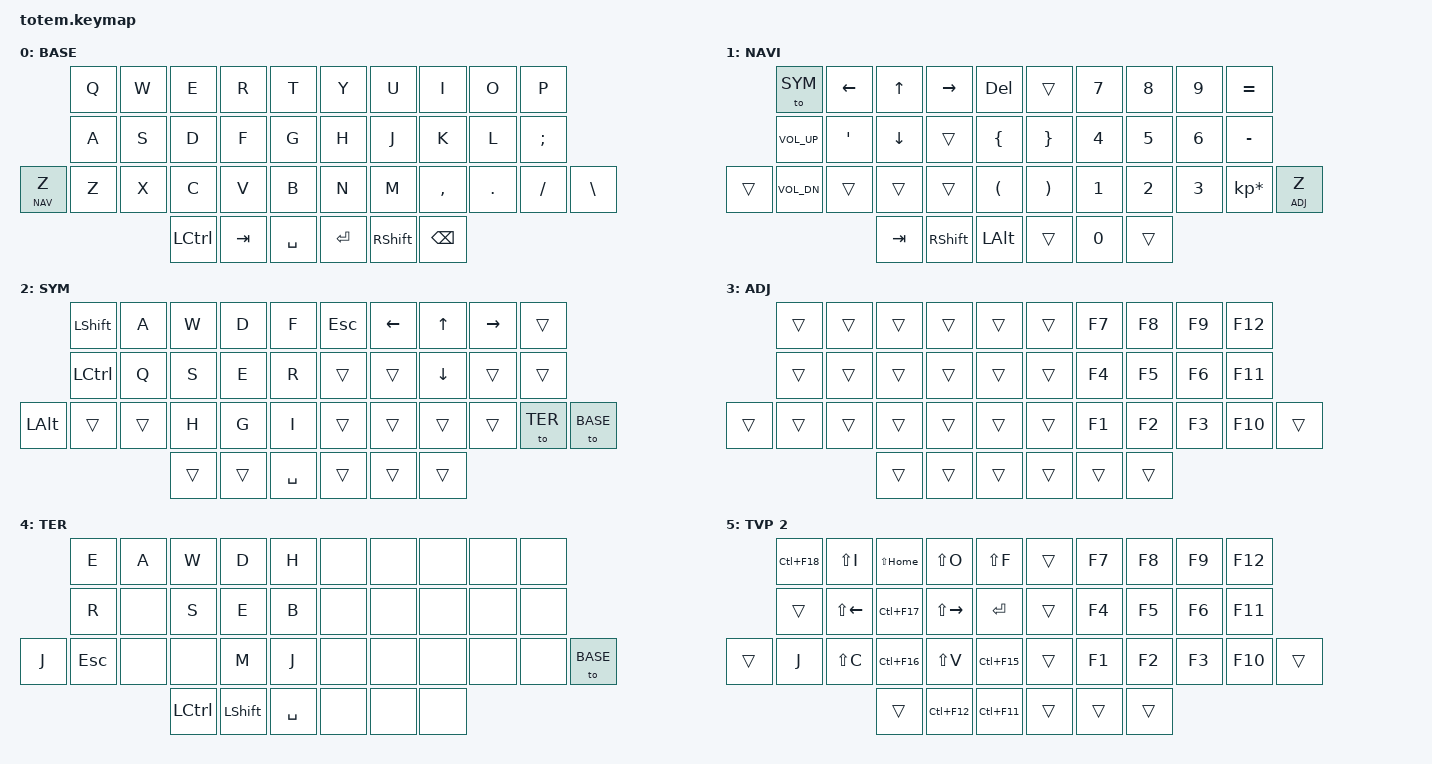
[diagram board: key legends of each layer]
//
//                                                        ▀▀▀▀▀     ▀▀▀▀▀          ▀▀█▀▀
//                                                        ▄▀▀▀▄  ▄  ▄▀▀▀▄  ▄  ▄▀▀▀▄  █  ▄▀▀▀▄
//                                                        █   █  █  █   █  █  █   █  █  █   █
//                                                         ▀▀▀   █   ▀▀▀   █   ▀▀▀   ▀   ▀▀▀
//                                                               █      ▄▄▄█▄▄▄    █   █  
//                                                               ▀      █  █  █     █▄█
//                                                             ▀▀▀▀▀    █  █  █      ▀
//                                                                      ▀  ▀  ▀
//
// ▄▄▄▄▄▄▄▄▄▄▄▄▄▄▄▄▄▄▄▄▄▄▄▄▄▄▄▄▄▄▄▄▄▄▄▄▄▄▄▄▄▄▄▄▄▄▄▄▄▄▄▄▄▄▄▄▄▄▄▄▄▄▄▄▄▄▄▄▄▄▄▄▄▄▄▄▄▄▄▄▄▄▄▄▄▄▄▄▄▄▄▄▄▄▄▄▄▄▄▄▄▄▄▄▄▄▄▄▄▄▄▄▄▄▄▄▄▄▄▄▄▄▄▄▄▄▄▄▄▄▄▄▄▄▄▄▄▄▄▄▄▄▄▄▄▄▄▄▄
       

#include <behaviors.dtsi>
#include <dt-bindings/zmk/keys.h>
#include <dt-bindings/zmk/bt.h>
#include <dt-bindings/zmk/outputs.h>

#define BASE 0
#define NAV  1
#define SYM  2
#define ADJ  3
#define TER  4
#define TVP2 5

&mt {
  quick-tap-ms = <100>;
  global-quick-tap;
  flavor = "tap-preferred";
  tapping-term-ms = <170>;
};
&lt {
    tapping-term-ms = <10>; // This is the value already set by default
};

/ {
     combos {
            compatible = "zmk,combos";
            combo_esc {
                timeout-ms = <50>;
                key-positions = <0 1>;
                bindings = <&kp ESC>;
            };
        };

    macros {
        gif: gif {
            label = "giphy";
            compatible = "zmk,behavior-macro";
            #binding-cells = <0>;
            bindings
                = <&macro_press &kp LSHFT>
                , <&macro_tap &kp N2>
                , <&macro_release &kp LSHFT>
                , <&macro_tap &kp G &kp I &kp F>
                ;
        };
    };

        keymap {
                compatible = "zmk,keymap";
// ▄▄▄▄▄▄▄▄▄▄▄▄▄▄▄▄▄▄▄▄▄▄▄▄▄▄▄▄▄▄▄▄▄▄▄▄▄▄▄▄▄▄▄▄▄▄▄▄▄▄▄▄▄▄▄▄▄▄▄▄▄▄▄▄▄▄▄▄▄▄▄▄▄▄▄▄▄▄▄▄▄▄▄▄▄▄▄▄▄▄▄▄▄▄▄▄▄▄▄▄▄▄▄▄▄▄▄▄▄▄▄▄▄▄▄▄▄▄▄▄▄▄▄▄▄▄▄▄▄▄▄▄▄▄▄▄▄▄▄▄▄▄▄▄▄▄▄▄▄

                base_layer {
// ┏━━━━━━━━━━━━━━━━━━━━━━━━━━━━━━━━━━━━━━━┓
label= "BASE"                              ;
// ┗━━━━━━━━━━━━━━━━━━━━━━━━━━━━━━━━━━━━━━━┛
//              ┏━━━━━━━━━━━┳━━━━━━━━━━━┳━━━━━━━━━━━┳━━━━━━━━━━━┳━━━━━━━━━━━┓  ┏━━━━━━━━━━━┳━━━━━━━━━━━┳━━━━━━━━━━━┳━━━━━━━━━━━┳━━━━━━━━━━━┓
//              ┃      Q      ┃      W     ┃     E      ┃      R     ┃      T      ┃  ┃     Y     ┃     U     ┃     I     ┃     O     ┃     P     ┃
//              ┣━━━━━━━━━━━╋━━━━━━━━━━━╋━━━━━━━━━━━╋━━━━━━━━━━━╋━━━━━━━━━━━┫  ┣━━━━━━━━━━━╋━━━━━━━━━━━╋━━━━━━━━━━━╋━━━━━━━━━━━╋━━━━━━━━━━━┫
//              ┃      A      ┃      S     ┃     D      ┃     F      ┃      G      ┃  ┃     H     ┃     j     ┃     K     ┃     L     ┃     ;     ┃
// ┏━━━━━━━━━━━╋━━━━━━━━━━━╋━━━━━━━━━━━╋━━━━━━━━━━━╋━━━━━━━━━━━╋━━━━━━━━━━━┫  ┣━━━━━━━━━━━╋━━━━━━━━━━━╋━━━━━━━━━━━╋━━━━━━━━━━━╋━━━━━━━━━━━╋━━━━━━━━━━━┓
// ┃      L      ┃     Z     ┃      X      ┃      C      ┃      V      ┃     B     ┃  ┃     N     ┃     M     ┃     ,     ┃     .     ┃     /     ┃     \     ┃
// ┗━━━━━━━━━━━┻━━━━━━━━━━━┻━━━━━━━━━━━╋━━━━━━━━━━━╋━━━━━━━━━━━╋━━━━━━━━━━━┫  ┣━━━━━━━━━━━╋━━━━━━━━━━━╋━━━━━━━━━━━╋━━━━━━━━━━━┻━━━━━━━━━━━┻━━━━━━━━━━━┛
//                                     ┃    LCTRL    ┃    TAB    ┃     SPC     ┃      ┃    ENTER    ┃   RSHIFT   ┃    BSPC    ┃
//                                     ┗━━━━━━━━━━━┻━━━━━━━━━━━┻━━━━━━━━━━━┛      ┗━━━━━━━━━━━┻━━━━━━━━━━━┻━━━━━━━━━━━┛
 bindings = <
// ╷           ╷           ╷           ╷           ╷           ╷           ╷   ╷           ╷           ╷           ╷           ╷           ╷           ╷

                &kp Q       &kp W       &kp E       &kp R       &kp T           &kp Y       &kp U       &kp I       &kp O       &kp P
                &kp A	    &kp S	&kp D	    &kp F	&kp G           &kp H       &kp J	&kp K	    &kp L	&kp SEMI
    &lt NAV Z   &kp Z       &kp X       &kp C       &kp V       &kp B           &kp N       &kp M       &kp COMMA   &kp DOT     &kp FSLH    &kp BSLH
                                        &kp LCTRL   &kp TAB     &kp SPACE   	&kp RET	    &kp RSHIFT  &kp BSPC
                        >;
                };

//
// ▄▄▄▄▄▄▄▄▄▄▄▄▄▄▄▄▄▄▄▄▄▄▄▄▄▄▄▄▄▄▄▄▄▄▄▄▄▄▄▄▄▄▄▄▄▄▄▄▄▄▄▄▄▄▄▄▄▄▄▄▄▄▄▄▄▄▄▄▄▄▄▄▄▄▄▄▄▄▄▄▄▄▄▄▄▄▄▄▄▄▄▄▄▄▄▄▄▄▄▄▄▄▄▄▄▄▄▄▄▄▄▄▄▄▄▄▄▄▄▄▄▄▄▄▄▄▄▄▄▄▄▄▄▄▄▄▄▄▄▄▄▄▄▄▄▄▄▄▄


                nav_layer {
// ┏━━━━━━━━━━━━━━━━━━━━━━━━━━━━━━━━━━━━━━━┓
label= "NAVI"                              ;
// ┗━━━━━━━━━━━━━━━━━━━━━━━━━━━━━━━━━━━━━━━┛
//             ┏━━━━━━━━━━━┳━━━━━━━━━━━┳━━━━━━━━━━━┳━━━━━━━━━━━┳━━━━━━━━━━━┓   ┏━━━━━━━━━━━┳━━━━━━━━━━━┳━━━━━━━━━━━┳━━━━━━━━━━━┳━━━━━━━━━━━┓
//             ┃           ┃    LEFT   ┃     UP    ┃   RIGHT   ┃     {     ┃          ┃     }      ┃      7      ┃     8      ┃     9      ┃      =     ┃
//             ┣━━━━━━━━━━━╋━━━━━━━━━━━╋━━━━━━━━━━━╋━━━━━━━━━━━╋━━━━━━━━━━━┫   ┣━━━━━━━━━━━╋━━━━━━━━━━━╋━━━━━━━━━━━╋━━━━━━━━━━━╋━━━━━━━━━━━┫
//             ┃           ┃           ┃    DOWN   ┃           ┃     [     ┃           ┃     ]     ┃     4     ┃     5     ┃     6     ┃     -     ┃
// ┏━━━━━━━━━━━╋━━━━━━━━━━━╋━━━━━━━━━━━╋━━━━━━━━━━━╋━━━━━━━━━━━╋━━━━━━━━━━━┫   ┣━━━━━━━━━━━╋━━━━━━━━━━━╋━━━━━━━━━━━╋━━━━━━━━━━━╋━━━━━━━━━━━╋━━━━━━━━━━━┓
// ┃           ┃           ┃           ┃           ┃           ┃     (        ┃        ┃     )     ┃     1     ┃     2     ┃     3     ┃     *     ┃           ┃
// ┗━━━━━━━━━━━┻━━━━━━━━━━━┻━━━━━━━━━━━╋━━━━━━━━━━━╋━━━━━━━━━━━╋━━━━━━━━━━━┫   ┣━━━━━━━━━━━╋━━━━━━━━━━━╋━━━━━━━━━━━╋━━━━━━━━━━━┻━━━━━━━━━━━┻━━━━━━━━━━━┛
//                                     ┃           ┃   RSHIFT   ┃           ┃          ┃           ┃     0     ┃           ┃
//                                     ┗━━━━━━━━━━━┻━━━━━━━━━━━┻━━━━━━━━━━━┛      ┗━━━━━━━━━━━┻━━━━━━━━━━━┻━━━━━━━━━━━┛
 bindings = <
// ╷           ╷           ╷           ╷           ╷           ╷           ╷   ╷           ╷           ╷           ╷           ╷           ╷           ╷

                &to SYM      &kp LEFT    &kp UP      &kp RIGHT   &kp DEL       &trans      &kp N7      &kp N8      &kp N9      &kp EQUAL
                &kp C_VOL_UP &kp SQT     &kp DOWN    &trans      &kp LBRC      &kp RBRC    &kp N4      &kp N5      &kp N6      &kp MINUS
    &trans      &kp C_VOL_DN &trans      &trans      &trans      &kp LPAR      &kp RPAR    &kp N1      &kp N2      &kp N3      &kp KP_MULTIPLY &lt ADJ Z       
                                        &kp TAB     &kp RSHIFT  &kp LALT        &trans      &kp N0      &trans      
                        >;
                };

// ▄▄▄▄▄▄▄▄▄▄▄▄▄▄▄▄▄▄▄▄▄▄▄▄▄▄▄▄▄▄▄▄▄▄▄▄▄▄▄▄▄▄▄▄▄▄▄▄▄▄▄▄▄▄▄▄▄▄▄▄▄▄▄▄▄▄▄▄▄▄▄▄▄▄▄▄▄▄▄▄▄▄▄▄▄▄▄▄▄▄▄▄▄▄▄▄▄▄▄▄▄▄▄▄▄▄▄▄▄▄▄▄▄▄▄▄▄▄▄▄▄▄▄▄▄▄▄▄▄▄▄▄▄▄▄▄▄▄▄▄▄▄▄▄▄▄▄▄▄


                sim_layer {
// ┏━━━━━━━━━━━━━━━━━━━━━━━━━━━━━━━━━━━━━━━┓
label= "SYM"                               ;
// ┗━━━━━━━━━━━━━━━━━━━━━━━━━━━━━━━━━━━━━━━┛
//              ┏━━━━━━━━━━━┳━━━━━━━━━━━┳━━━━━━━━━━━┳━━━━━━━━━━━┳━━━━━━━━━━━┓  ┏━━━━━━━━━━━┳━━━━━━━━━━━┳━━━━━━━━━━━┳━━━━━━━━━━━┳━━━━━━━━━━━┓
//              ┃     SHIFT     ┃     A     ┃     W     ┃     D     ┃     F        ┃  ┃    ESC     ┃     left    ┃     up     ┃     right   ┃            ┃
//              ┣━━━━━━━━━━━╋━━━━━━━━━━━╋━━━━━━━━━━━╋━━━━━━━━━━━╋━━━━━━━━━━━┫  ┣━━━━━━━━━━━╋━━━━━━━━━━━╋━━━━━━━━━━━╋━━━━━━━━━━━╋━━━━━━━━━━━┫
//              ┃    CTRL    ┃      Q      ┃    S       ┃     E       ┃      R     ┃  ┃            ┃             ┃    down    ┃             ┃           ┃
// ┏━━━━━━━━━━━╋━━━━━━━━━━━╋━━━━━━━━━━━╋━━━━━━━━━━━╋━━━━━━━━━━━╋━━━━━━━━━━━┫  ┣━━━━━━━━━━━╋━━━━━━━━━━━╋━━━━━━━━━━━╋━━━━━━━━━━━╋━━━━━━━━━━━╋━━━━━━━━━━━┓
// ┃     ALT    ┃             ┃            ┃    H       ┃             ┃      I     ┃  ┃             ┃            ┃            ┃             ┃            ┃            ┃
// ┗━━━━━━━━━━━┻━━━━━━━━━━━┻━━━━━━━━━━━╋━━━━━━━━━━━╋━━━━━━━━━━━╋━━━━━━━━━━━┫  ┣━━━━━━━━━━━╋━━━━━━━━━━━╋━━━━━━━━━━━╋━━━━━━━━━━━┻━━━━━━━━━━━┻━━━━━━━━━━━┛
//                                         ┃            ┃    GIF      ┃    ADJ     ┃   ┃            ┃            ┃             ┃
//                                         ┗━━━━━━━━━━━┻━━━━━━━━━━━┻━━━━━━━━━━━┛   ┗━━━━━━━━━━━┻━━━━━━━━━━━┻━━━━━━━━━━━┛
 bindings = <
// ╷           ╷           ╷           ╷           ╷           ╷           ╷   ╷           ╷           ╷           ╷           ╷           ╷           ╷

                &kp LSHIFT  &kp A       &kp W       &kp D       &kp F           &kp ESC     &kp LEFT    &kp UP      &kp RIGHT   &trans             
                &kp LCTRL   &kp Q       &kp S       &kp E       &kp R           &trans      &trans      &kp DOWN    &trans      &trans       
    &kp LALT    &trans      &trans      &kp H       &kp G       &kp I           &trans      &trans      &trans      &trans      &to TER      &to BASE         
                                       &trans      &trans      &kp SPACE         &trans      &trans      &trans      
                        >;
                };

// ▄▄▄▄▄▄▄▄▄▄▄▄▄▄▄▄▄▄▄▄▄▄▄▄▄▄▄▄▄▄▄▄▄▄▄▄▄▄▄▄▄▄▄▄▄▄▄▄▄▄▄▄▄▄▄▄▄▄▄▄▄▄▄▄▄▄▄▄▄▄▄▄▄▄▄▄▄▄▄▄▄▄▄▄▄▄▄▄▄▄▄▄▄▄▄▄▄▄▄▄▄▄▄▄▄▄▄▄▄▄▄▄▄▄▄▄▄▄▄▄▄▄▄▄▄▄▄▄▄▄▄▄▄▄▄▄▄▄▄▄▄▄▄▄▄▄▄▄▄


                adjust_layer {
// ┏━━━━━━━━━━━━━━━━━━━━━━━━━━━━━━━━━━━━━━━┓
label= "ADJ"                               ;
// ┗━━━━━━━━━━━━━━━━━━━━━━━━━━━━━━━━━━━━━━━┛
//             ┏━━━━━━━━━━━┳━━━━━━━━━━━┳━━━━━━━━━━━┳━━━━━━━━━━━┳━━━━━━━━━━━┓   ┏━━━━━━━━━━━┳━━━━━━━━━━━┳━━━━━━━━━━━┳━━━━━━━━━━━┳━━━━━━━━━━━┓
//             ┃   RESET   ┃ BT CLEAR  ┃  OUT TOG  ┃           ┃           ┃   ┃           ┃    F7     ┃    F8     ┃    F9     ┃    F12    ┃
//             ┣━━━━━━━━━━━╋━━━━━━━━━━━╋━━━━━━━━━━━╋━━━━━━━━━━━╋━━━━━━━━━━━┫   ┣━━━━━━━━━━━╋━━━━━━━━━━━╋━━━━━━━━━━━╋━━━━━━━━━━━╋━━━━━━━━━━━┫
//             ┃ BOOTLOAD  ┃ BT NEXT   ┃           ┃           ┃           ┃   ┃           ┃    F4     ┃    F5     ┃    F6     ┃    F11    ┃
// ┏━━━━━━━━━━━╋━━━━━━━━━━━╋━━━━━━━━━━━╋━━━━━━━━━━━╋━━━━━━━━━━━╋━━━━━━━━━━━┫   ┣━━━━━━━━━━━╋━━━━━━━━━━━╋━━━━━━━━━━━╋━━━━━━━━━━━╋━━━━━━━━━━━╋━━━━━━━━━━━┓
// ┃           ┃           ┃ BT PREV   ┃           ┃           ┃           ┃   ┃           ┃    F1     ┃    F2     ┃    F3     ┃    F10    ┃           ┃
// ┗━━━━━━━━━━━┻━━━━━━━━━━━┻━━━━━━━━━━━╋━━━━━━━━━━━╋━━━━━━━━━━━╋━━━━━━━━━━━┫   ┣━━━━━━━━━━━╋━━━━━━━━━━━╋━━━━━━━━━━━╋━━━━━━━━━━━┻━━━━━━━━━━━┻━━━━━━━━━━━┛
//                                     ┃           ┃           ┃           ┃   ┃           ┃           ┃           ┃
//                                     ┗━━━━━━━━━━━┻━━━━━━━━━━━┻━━━━━━━━━━━┛   ┗━━━━━━━━━━━┻━━━━━━━━━━━┻━━━━━━━━━━━┛
 bindings = <
// ╷           ╷           ╷           ╷           ╷           ╷           ╷   ╷           ╷           ╷           ╷           ╷           ╷           ╷

                &trans      &trans      &trans      &trans      &trans          &trans      &kp F7      &kp F8      &kp F9      &kp F12
                &trans      &trans      &trans      &trans      &trans          &trans      &kp F4      &kp F5      &kp F6      &kp F11  
    &trans      &trans      &trans      &trans      &trans      &trans          &trans      &kp F1      &kp F2      &kp F3      &kp F10     &trans         
                                        &trans      &trans      &trans          &trans      &trans      &trans      
                        >;
                };

// ▄▄▄▄▄▄▄▄▄▄▄▄▄▄▄▄▄▄▄▄▄▄▄▄▄▄▄▄▄▄▄▄▄▄▄▄▄▄▄▄▄▄▄▄▄▄▄▄▄▄▄▄▄▄▄▄▄▄▄▄▄▄▄▄▄▄▄▄▄▄▄▄▄▄▄▄▄▄▄▄▄▄▄▄▄▄▄▄▄▄▄▄▄▄▄▄▄▄▄▄▄▄▄▄▄▄▄▄▄▄▄▄▄▄▄▄▄▄▄▄▄▄▄▄▄▄▄▄▄▄▄▄▄▄▄▄▄▄▄▄▄▄▄▄▄▄▄▄▄


                ter_layer {
// ┏━━━━━━━━━━━━━━━━━━━━━━━━━━━━━━━━━━━━━━━┓
label= "TER"                             ;
// ┗━━━━━━━━━━━━━━━━━━━━━━━━━━━━━━━━━━━━━━━┛
//             ┏━━━━━━━━━━━┳━━━━━━━━━━━┳━━━━━━━━━━━┳━━━━━━━━━━━┳━━━━━━━━━━━┓   ┏━━━━━━━━━━━┳━━━━━━━━━━━┳━━━━━━━━━━━┳━━━━━━━━━━━┳━━━━━━━━━━━┓
//             ┃ NEXT FILE ┃ MARK IN   ┃ ROTATE    ┃ MARK OUT  ┃ SHOW SNAP ┃   ┃           ┃           ┃           ┃           ┃           ┃
//             ┣━━━━━━━━━━━╋━━━━━━━━━━━╋━━━━━━━━━━━╋━━━━━━━━━━━╋━━━━━━━━━━━┫   ┣━━━━━━━━━━━╋━━━━━━━━━━━╋━━━━━━━━━━━╋━━━━━━━━━━━╋━━━━━━━━━━━┫
//             ┃ TVP II    ┃ LEFT      ┃ PAN       ┃ RIGHT     ┃ PLAY/FLIP ┃   ┃           ┃           ┃           ┃           ┃           ┃
// ┏━━━━━━━━━━━╋━━━━━━━━━━━╋━━━━━━━━━━━╋━━━━━━━━━━━╋━━━━━━━━━━━╋━━━━━━━━━━━┫   ┣━━━━━━━━━━━╋━━━━━━━━━━━╋━━━━━━━━━━━╋━━━━━━━━━━━╋━━━━━━━━━━━╋━━━━━━━━━━━┓
// ┃ FULLSCR   ┃ SHIFT     ┃ COPY      ┃ DELETE    ┃ PASTE     ┃ IMG MARK  ┃   ┃           ┃           ┃           ┃           ┃           ┃           ┃
// ┗━━━━━━━━━━━┻━━━━━━━━━━━┻━━━━━━━━━━━╋━━━━━━━━━━━╋━━━━━━━━━━━╋━━━━━━━━━━━┫   ┣━━━━━━━━━━━╋━━━━━━━━━━━╋━━━━━━━━━━━╋━━━━━━━━━━━┻━━━━━━━━━━━┻━━━━━━━━━━━┛
//                                     ┃           ┃ UNDO/SAVE ┃  SEL/MOV  ┃   ┃           ┃           ┃           ┃
//                                     ┗━━━━━━━━━━━┻━━━━━━━━━━━┻━━━━━━━━━━━┛   ┗━━━━━━━━━━━┻━━━━━━━━━━━┻━━━━━━━━━━━┛
 bindings = <
// ╷           ╷           ╷           ╷           ╷           ╷           ╷   ╷           ╷           ╷           ╷           ╷           ╷           ╷

                &kp E       &kp A       &kp W       &kp D       &kp H           &none       &none       &none       &none       &none
                &kp R       &none       &kp S       &kp E       &kp B           &none       &none       &none       &none       &none
    &kp J       &kp ESC     &none       &none       &kp M       &kp J           &none       &none       &none       &none       &none       &to BASE        
                                        &kp LCTRL   &kp LSHIFT   &kp SPACE       &none       &none       &none    
                        >;
                };

// ▄▄▄▄▄▄▄▄▄▄▄▄▄▄▄▄▄▄▄▄▄▄▄▄▄▄▄▄▄▄▄▄▄▄▄▄▄▄▄▄▄▄▄▄▄▄▄▄▄▄▄▄▄▄▄▄▄▄▄▄▄▄▄▄▄▄▄▄▄▄▄▄▄▄▄▄▄▄▄▄▄▄▄▄▄▄▄▄▄▄▄▄▄▄▄▄▄▄▄▄▄▄▄▄▄▄▄▄▄▄▄▄▄▄▄▄▄▄▄▄▄▄▄▄▄▄▄▄▄▄▄▄▄▄▄▄▄▄▄▄▄▄▄▄▄▄▄▄▄


                tvp2_layer {
// ┏━━━━━━━━━━━━━━━━━━━━━━━━━━━━━━━━━━━━━━━┓
label= "TVP 2"                             ;
// ┗━━━━━━━━━━━━━━━━━━━━━━━━━━━━━━━━━━━━━━━┛
//             ┏━━━━━━━━━━━┳━━━━━━━━━━━┳━━━━━━━━━━━┳━━━━━━━━━━━┳━━━━━━━━━━━┓   ┏━━━━━━━━━━━┳━━━━━━━━━━━┳━━━━━━━━━━━┳━━━━━━━━━━━┳━━━━━━━━━━━┓
//             ┃ SOLO      ┃ TOGGLE IN ┃ RESET ROT ┃ TOGGLE OUT┃ TAKE SNAP ┃   ┃           ┃           ┃           ┃           ┃           ┃
//             ┣━━━━━━━━━━━╋━━━━━━━━━━━╋━━━━━━━━━━━╋━━━━━━━━━━━╋━━━━━━━━━━━┫   ┣━━━━━━━━━━━╋━━━━━━━━━━━╋━━━━━━━━━━━╋━━━━━━━━━━━╋━━━━━━━━━━━┫
//             ┃ ---       ┃ LAST KEY  ┃ NEW KEY   ┃ NEXT KEY  ┃ ENTER     ┃   ┃           ┃           ┃           ┃           ┃           ┃
// ┏━━━━━━━━━━━╋━━━━━━━━━━━╋━━━━━━━━━━━╋━━━━━━━━━━━╋━━━━━━━━━━━╋━━━━━━━━━━━┫   ┣━━━━━━━━━━━╋━━━━━━━━━━━╋━━━━━━━━━━━╋━━━━━━━━━━━╋━━━━━━━━━━━╋━━━━━━━━━━━┓
// ┃           ┃ FULLSCR   ┃ CPY2BRUSH ┃ DEL HEAD  ┃ PSTinPLACE┃ BOOK MARK ┃   ┃           ┃           ┃           ┃           ┃           ┃           ┃
// ┗━━━━━━━━━━━┻━━━━━━━━━━━┻━━━━━━━━━━━╋━━━━━━━━━━━╋━━━━━━━━━━━╋━━━━━━━━━━━┫   ┣━━━━━━━━━━━╋━━━━━━━━━━━╋━━━━━━━━━━━╋━━━━━━━━━━━┻━━━━━━━━━━━┻━━━━━━━━━━━┛
//                                     ┃           ┃ REDO/SAV1 ┃TRANS/WARP ┃   ┃           ┃           ┃           ┃
//                                     ┗━━━━━━━━━━━┻━━━━━━━━━━━┻━━━━━━━━━━━┛   ┗━━━━━━━━━━━┻━━━━━━━━━━━┻━━━━━━━━━━━┛
 bindings = <
// ╷           ╷           ╷           ╷           ╷           ╷           ╷   ╷           ╷           ╷           ╷           ╷           ╷           ╷

                &kp LC(F18) &kp LS(I)  &kp LS(HOME) &kp LS(O)   &kp LS(F)       &trans      &kp F7      &kp F8      &kp F9      &kp F12
                &trans      &kp LS(LEFT) &kp LC(F17) &kp LS(RIGHT) &kp RET      &trans      &kp F4      &kp F5      &kp F6      &kp F11  
    &trans      &kp J       &kp LS(C)   &kp LC(F16) &kp LS(V)   &kp LC(F15)     &trans      &kp F1      &kp F2      &kp F3      &kp F10     &trans         
                                        &trans      &kp LC(F12) &kp LC(F11)     &trans      &trans      &trans      
                        >;
                };
        };
};
